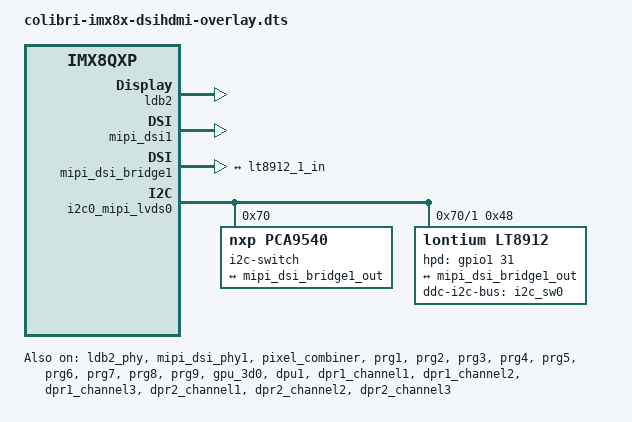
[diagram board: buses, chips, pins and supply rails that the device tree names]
// Enable the dsi to hdmi adapter orderable at Toradex for Colibri iMX8X

#include "dt-bindings/gpio/gpio.h"
#include "dt-bindings/pinctrl/pads-imx8qxp.h"

/dts-v1/;
/plugin/;
/ {
	compatible = "toradex,colibri-imx8qxp";

	fragment@0 {
		target = <&ldb2>;
		__overlay__ {
			status = "okay";
		};
	};

	fragment@1 {
		target = <&ldb2_phy>;
		__overlay__ {
			status = "okay";
		};
	};

	fragment@2 {
		target = <&mipi_dsi_phy1>;
		__overlay__ {
			status = "okay";
		};
	};

	fragment@3 {
		target = <&mipi_dsi1>;
		__overlay__ {
			status = "okay";
		};
	};

	fragment@4 {
		target = <&mipi_dsi_bridge1>;
		__overlay__ {
			status = "okay";
			port@1 {
				mipi_dsi_bridge1_out: endpoint {
					remote-endpoint = <&lt8912_1_in>;
				};
			};
		};
	};

	fragment@5 {
		target = <&iomuxc>; 
		__overlay__ {
			colibri-imx8qxp {
				/* DSI/LVDS Hot Plug Detect on FFC (X2) */
				pinctrl_gpio_hpd: gpio-hpd {
					fsl,pins = <
						SC_P_MIPI_DSI1_GPIO0_00_LSIO_GPIO1_IO31		0x20		/* SODIMM 138 */
					>;
				};
			};
		};
	};

	fragment@6 {
		target = <&i2c0_mipi_lvds0>;

		__overlay__ {
			status = "okay";

			/* DSI to HDMI Adapter V1.1A */
			i2c-switch@70 {
				compatible = "nxp,pca9540";
				#address-cells = <1>;
				#size-cells = <0>;
				reg = <0x70>;
				i2c-mux-idle-disconnect;

				i2c_sw0: i2c-sw@0 {
					#address-cells = <1>;
					#size-cells = <0>;
					reg = <0>;

					/* DDC/EDID */
				};

				i2c-sw@1 {
					#address-cells = <1>;
					#size-cells = <0>;
					reg = <1>;

					lt8912@48 {
						compatible = "lontium,lt8912";
						ddc-i2c-bus = <&i2c_sw0>;
						hpd-gpios = <&gpio1 31 GPIO_ACTIVE_HIGH>;
						pinctrl-names = "default";
						pinctrl-0 = <&pinctrl_gpio_hpd>;
						reg = <0x48>;

						port {
							lt8912_1_in: endpoint {
								remote-endpoint = <&mipi_dsi_bridge1_out>;
							};
						};
					};
				};
			};
		};
	};

	fragment@7 {
		target = <&pixel_combiner>;

		__overlay__ {
			status = "okay";
		};
	};

	fragment@8 {
		target = <&prg1>;

		__overlay__ {
			status = "okay";
		};
	};

	fragment@9 {
		target = <&prg2>;

		__overlay__ {
			status = "okay";
		};
	};

	fragment@10 {
		target = <&prg3>;

		__overlay__ {
			status = "okay";
		};
	};

	fragment@11 {
		target = <&prg4>;

		__overlay__ {
			status = "okay";
		};
	};

	fragment@12 {
		target = <&prg5>;

		__overlay__ {
			status = "okay";
		};
	};

	fragment@13 {
		target = <&prg6>;

		__overlay__ {
			status = "okay";
		};
	};

	fragment@14 {
		target = <&prg7>;

		__overlay__ {
			status = "okay";
		};
	};

	fragment@15 {
		target = <&prg8>;

		__overlay__ {
			status = "okay";
		};
	};

	fragment@16 {
		target = <&prg9>;

		__overlay__ {
			status = "okay";
		};
	};

	fragment@17 {
		target = <&ldb1_phy>;

		__overlay__ {
			status = "disabled";
		};
	};

	fragment@18 {
		target = <&ldb1>;

		__overlay__ {
			status = "disabled";
		};
	};

	fragment@19 {
		target = <&gpu_3d0>;

		__overlay__ {
			status = "okay";
		};
	};

	fragment@20 {
		target = <&dpu1>;

		__overlay__ {
			status = "okay";
		};
	};

	fragment@21 {
		target = <&dpr1_channel1>;

		__overlay__ {
			status = "okay";
		};
	};

	fragment@22 {
		target = <&dpr1_channel2>;

		__overlay__ {
			status = "okay";
		};
	};

	fragment@23 {
		target = <&dpr1_channel3>;

		__overlay__ {
			status = "okay";
		};
	};

	fragment@24 {
		target = <&dpr2_channel1>;

		__overlay__ {
			status = "okay";
		};
	};

	fragment@25 {
		target = <&dpr2_channel2>;

		__overlay__ {
			status = "okay";
		};
	};

	fragment@26 {
		target = <&dpr2_channel3>;

		__overlay__ {
			status = "okay";
		};
	};
};
